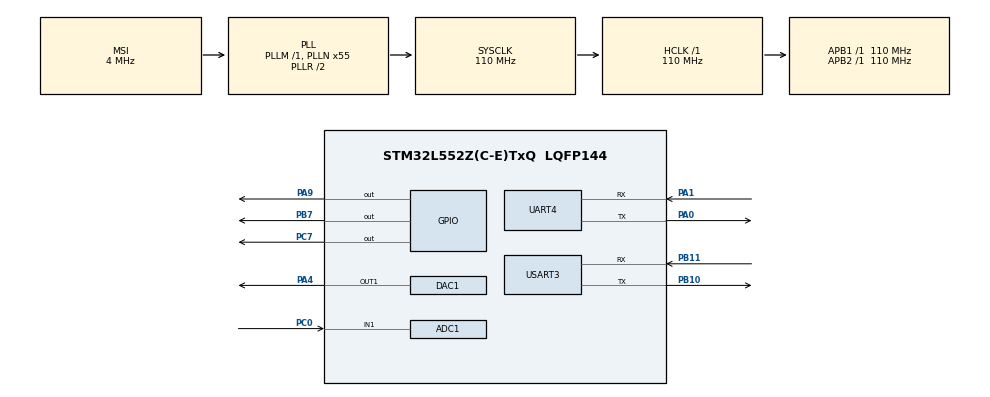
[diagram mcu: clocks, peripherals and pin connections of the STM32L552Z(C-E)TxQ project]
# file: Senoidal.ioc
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ADC1.Channel-2\#ChannelRegularConversion=ADC_CHANNEL_1
ADC1.NbrOfConversionFlag=1
ADC1.OffsetNumber-2\#ChannelRegularConversion=ADC_OFFSET_NONE
ADC1.Rank-2\#ChannelRegularConversion=1
ADC1.SamplingTime-2\#ChannelRegularConversion=ADC_SAMPLETIME_2CYCLES_5
ADC1.master=1
DAC1.DAC_SampleAndHold-DAC_OUT1=DAC_SAMPLEANDHOLD_DISABLE
DAC1.DAC_Trigger-DAC_OUT1=DAC_TRIGGER_NONE
Mcu.Family=STM32L5
Mcu.Name=STM32L552Z(C-E)TxQ
Mcu.Package=LQFP144
Mcu.TrustZone=disable
NUCLEO-L552ZE-Q.BUTTON=1
NUCLEO-L552ZE-Q.LD1=true
NUCLEO-L552ZE-Q.LD2=true
NUCLEO-L552ZE-Q.LD3=true
NUCLEO-L552ZE-Q.VCP=true
NVIC.EXTI13_IRQn=true\:0\:0\:false\:false\:true\:false\:true\:true
NVIC.PriorityGroup=NVIC_PRIORITYGROUP_3
PA0.Mode=Asynchronous
PA0.Signal=UART4_TX
PA1.Mode=Asynchronous
PA1.Signal=UART4_RX
PA13\ (JTMS/SWDIO).Signal=DEBUG_JTMS-SWDIO
PA14\ (JTCK/SWCLK).Signal=DEBUG_JTCK-SWCLK
PA4.Signal=COMP_DAC11_group
PA9.Signal=GPIO_Output
PB10.Mode=Asynchronous
PB10.Signal=USART3_TX
PB11.Mode=Asynchronous
PB11.Signal=USART3_RX
PB3\ (JTDO/TRACESWO).Signal=DEBUG_JTDO-SWO
PB7.Signal=GPIO_Output
PC0.Signal=ADCx_IN1
PC13.Signal=PWR_WKUP2
PC14-OSC32_IN\ (PC14).Signal=RCC_OSC32_IN
PC15-OSC32_OUT\ (PC15).Signal=RCC_OSC32_OUT
PC7.Signal=GPIO_Output
PG7.Signal=LPUART1_TX
PG8.Signal=LPUART1_RX
ProjectManager.HeapSize=0x200
ProjectManager.StackSize=0x400
ProjectManager.TargetToolchain=STM32CubeIDE
RCC.ADCCLockSelection=RCC_ADCCLKSOURCE_SYSCLK
RCC.ADCFreq_Value=110000000
RCC.AHBFreq_Value=110000000
RCC.APB1Freq_Value=110000000
RCC.APB1TimFreq_Value=110000000
RCC.APB2Freq_Value=110000000
RCC.APB2TimFreq_Value=110000000
RCC.CK48CLockSelection=RCC_USBCLKSOURCE_HSI48
RCC.CortexFreq_Value=110000000
RCC.HCLKFreq_Value=110000000
RCC.HSE_VALUE=8000000
RCC.HSI48_VALUE=48000000
RCC.HSI_VALUE=16000000
RCC.LSE_VALUE=32768
RCC.MSI_VALUE=4000000
RCC.PLLN=55
RCC.PLLSAI1N=24
RCC.RTCClockSelection=RCC_RTCCLKSOURCE_LSE
RCC.SYSCLKFreq_VALUE=110000000
RCC.SYSCLKSource=RCC_SYSCLKSOURCE_PLLCLK
RCC.USBFreq_Value=48000000
RCC.VCOOutputFreq_Value=220000000
SH.ADCx_IN1.0=ADC1_IN1,IN1-Single-Ended
SH.COMP_DAC11_group.0=DAC1_OUT1,DAC_OUT1
USART3.VirtualMode-Asynchronous=VM_ASYNC
VP_ICACHE_VS_ICACHE.Mode=DirectMappedCache
VP_NUCLEO-L552ZE-Q_VS_BSP_COMMON.Mode=COMMON
VP_PWR_VS_DBSignals.Mode=DisableDeadBatterySignals
VP_PWR_VS_SECSignals.Mode=Security/Privilege
board=NUCLEO-L552ZE-Q

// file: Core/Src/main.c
/* USER CODE BEGIN Header */
/**
  ******************************************************************************
  * @file           : main.c
  * @brief          : Main program body
  ******************************************************************************
  * @attention
  *
  * Copyright (c) 2025 STMicroelectronics.
  * All rights reserved.
  *
  * This software is licensed under terms that can be found in the LICENSE file
  * in the root directory of this software component.
  * If no LICENSE file comes with this software, it is provided AS-IS.
  *
  ******************************************************************************
  */
/* USER CODE END Header */
#include "main.h"

/* USER CODE BEGIN Includes */
#include <math.h>
#include <stdio.h>
#include <string.h>

/* USER CODE END Includes */

COM_InitTypeDef BspCOMInit;
ADC_HandleTypeDef hadc1;

DAC_HandleTypeDef hdac1;

UART_HandleTypeDef huart4;
UART_HandleTypeDef huart3;

void SystemClock_Config(void);
static void MX_GPIO_Init(void);
static void MX_ICACHE_Init(void);
static void MX_ADC1_Init(void);
static void MX_DAC1_Init(void);
static void MX_UART4_Init(void);
static void MX_USART3_UART_Init(void);

int main(void)
{

  /* MCU Configuration--------------------------------------------------------*/

  /* Reset of all peripherals, Initializes the Flash interface and the Systick. */
  HAL_Init();

  /* Configure the system clock */
  SystemClock_Config();

  /* Initialize all configured peripherals */
  MX_GPIO_Init();
  MX_ICACHE_Init();
  MX_ADC1_Init();
  MX_DAC1_Init();
  MX_UART4_Init();
  MX_USART3_UART_Init();
  /* USER CODE BEGIN 2 */

  uint16_t y = 0;
  uint32_t numero = 0;
  uint16_t contador = 0;
  uint32_t buffer[360];
  uint16_t valor_temporal = 0;
  char msg[128];

  for(uint16_t x=0; x<363; x++){
	  buffer[x]= (uint16_t)(127 * sin(2*	3.141592 *x/360) + 127); //Adaptar al maximo valor DAC
  }

  HAL_DAC_SetValue(&hdac1, DAC1_CHANNEL_1, DAC_ALIGN_8B_R, 0x0);
  HAL_DAC_Start(&hdac1, DAC1_CHANNEL_1);
  HAL_UART_Init(&huart4);
  HAL_UART_Init(&huart3);
  HAL_ADC_Init(&hadc1);

  /* USER CODE END 2 */

  /* Initialize leds */
  BSP_LED_Init(LED_GREEN);
  BSP_LED_Init(LED_BLUE);
  BSP_LED_Init(LED_RED);

  /* Initialize USER push-button, will be used to trigger an interrupt each time it's pressed.*/
  BSP_PB_Init(BUTTON_USER, BUTTON_MODE_EXTI);

  /* Initialize COM1 port (115200, 8 bits (7-bit data + 1 stop bit), no parity */
  BspCOMInit.BaudRate   = 115200;
  BspCOMInit.WordLength = COM_WORDLENGTH_8B;
  BspCOMInit.StopBits   = COM_STOPBITS_1;
  BspCOMInit.Parity     = COM_PARITY_NONE;
  BspCOMInit.HwFlowCtl  = COM_HWCONTROL_NONE;
  if (BSP_COM_Init(COM1, &BspCOMInit) != BSP_ERROR_NONE)
  {
    Error_Handler();
  }

  /* Infinite loop */
  /* USER CODE BEGIN WHILE */
  //while (1){

    /* USER CODE END WHILE */

    /* USER CODE BEGIN 3 */
	  /* el codigo de pablo lo que hace es guardar en un buffer los puntos de la funcion y usar HAL_DACEx_DualStart_DMA para representar los puntos del buffer,
	  así no hay que repetir los calculos una vez hechos	*/

	  sprintf(msg, "Inicio \r\n");
	  printf(msg);

	  while(contador<360){

		  valor_temporal = buffer[contador];
		  HAL_DAC_SetValue(&hdac1, DAC1_CHANNEL_1, DAC_ALIGN_8B_R, buffer[contador]);
		  HAL_Delay(20);
		  HAL_ADC_Start(&hadc1);
		  HAL_ADC_PollForConversion(&hadc1, 10000);
		  numero = HAL_ADC_GetValue(&hadc1);

		  sprintf(msg, "Medido: %lu\r\n",numero);
		  printf(msg);
		  sprintf(msg, "Original: %u\r\n",valor_temporal);
	  	  printf(msg);

	  	  contador++;
	  }
	  sprintf(msg, "FIN \r\n");
	  printf(msg);

  //}
  /* USER CODE END 3 */
}

void SystemClock_Config(void)
{
  RCC_OscInitTypeDef RCC_OscInitStruct = {0};
  RCC_ClkInitTypeDef RCC_ClkInitStruct = {0};

  /** Configure the main internal regulator output voltage
  */
  if (HAL_PWREx_ControlVoltageScaling(PWR_REGULATOR_VOLTAGE_SCALE0) != HAL_OK)
  {
    Error_Handler();
  }

  /** Initializes the RCC Oscillators according to the specified parameters
  * in the RCC_OscInitTypeDef structure.
  */
  RCC_OscInitStruct.OscillatorType = RCC_OSCILLATORTYPE_MSI;
  RCC_OscInitStruct.MSIState = RCC_MSI_ON;
  RCC_OscInitStruct.MSICalibrationValue = RCC_MSICALIBRATION_DEFAULT;
  RCC_OscInitStruct.MSIClockRange = RCC_MSIRANGE_6;
  RCC_OscInitStruct.PLL.PLLState = RCC_PLL_ON;
  RCC_OscInitStruct.PLL.PLLSource = RCC_PLLSOURCE_MSI;
  RCC_OscInitStruct.PLL.PLLM = 1;
  RCC_OscInitStruct.PLL.PLLN = 55;
  RCC_OscInitStruct.PLL.PLLP = RCC_PLLP_DIV7;
  RCC_OscInitStruct.PLL.PLLQ = RCC_PLLQ_DIV2;
  RCC_OscInitStruct.PLL.PLLR = RCC_PLLR_DIV2;
  if (HAL_RCC_OscConfig(&RCC_OscInitStruct) != HAL_OK)
  {
    Error_Handler();
  }

  /** Initializes the CPU, AHB and APB buses clocks
  */
  RCC_ClkInitStruct.ClockType = RCC_CLOCKTYPE_HCLK|RCC_CLOCKTYPE_SYSCLK
                              |RCC_CLOCKTYPE_PCLK1|RCC_CLOCKTYPE_PCLK2;
  RCC_ClkInitStruct.SYSCLKSource = RCC_SYSCLKSOURCE_PLLCLK;
  RCC_ClkInitStruct.AHBCLKDivider = RCC_SYSCLK_DIV1;
  RCC_ClkInitStruct.APB1CLKDivider = RCC_HCLK_DIV1;
  RCC_ClkInitStruct.APB2CLKDivider = RCC_HCLK_DIV1;

  if (HAL_RCC_ClockConfig(&RCC_ClkInitStruct, FLASH_LATENCY_5) != HAL_OK)
  {
    Error_Handler();
  }
}

static void MX_ADC1_Init(void)
{

  ADC_MultiModeTypeDef multimode = {0};
  ADC_ChannelConfTypeDef sConfig = {0};

  /** Common config
  */
  hadc1.Instance = ADC1;
  hadc1.Init.ClockPrescaler = ADC_CLOCK_ASYNC_DIV1;
  hadc1.Init.Resolution = ADC_RESOLUTION_12B;
  hadc1.Init.DataAlign = ADC_DATAALIGN_RIGHT;
  hadc1.Init.ScanConvMode = ADC_SCAN_DISABLE;
  hadc1.Init.EOCSelection = ADC_EOC_SINGLE_CONV;
  hadc1.Init.LowPowerAutoWait = DISABLE;
  hadc1.Init.ContinuousConvMode = DISABLE;
  hadc1.Init.NbrOfConversion = 1;
  hadc1.Init.DiscontinuousConvMode = DISABLE;
  hadc1.Init.ExternalTrigConv = ADC_SOFTWARE_START;
  hadc1.Init.ExternalTrigConvEdge = ADC_EXTERNALTRIGCONVEDGE_NONE;
  hadc1.Init.DMAContinuousRequests = DISABLE;
  hadc1.Init.Overrun = ADC_OVR_DATA_PRESERVED;
  hadc1.Init.OversamplingMode = DISABLE;
  if (HAL_ADC_Init(&hadc1) != HAL_OK)
  {
    Error_Handler();
  }

  /** Configure the ADC multi-mode
  */
  multimode.Mode = ADC_MODE_INDEPENDENT;
  if (HAL_ADCEx_MultiModeConfigChannel(&hadc1, &multimode) != HAL_OK)
  {
    Error_Handler();
  }

  /** Configure Regular Channel
  */
  sConfig.Channel = ADC_CHANNEL_1;
  sConfig.Rank = ADC_REGULAR_RANK_1;
  sConfig.SamplingTime = ADC_SAMPLETIME_2CYCLES_5;
  sConfig.SingleDiff = ADC_SINGLE_ENDED;
  sConfig.OffsetNumber = ADC_OFFSET_NONE;
  sConfig.Offset = 0;
  if (HAL_ADC_ConfigChannel(&hadc1, &sConfig) != HAL_OK)
  {
    Error_Handler();
  }

}

static void MX_DAC1_Init(void)
{

  DAC_ChannelConfTypeDef sConfig = {0};

  /** DAC Initialization
  */
  hdac1.Instance = DAC1;
  if (HAL_DAC_Init(&hdac1) != HAL_OK)
  {
    Error_Handler();
  }

  /** DAC channel OUT1 config
  */
  sConfig.DAC_SampleAndHold = DAC_SAMPLEANDHOLD_DISABLE;
  sConfig.DAC_Trigger = DAC_TRIGGER_NONE;
  sConfig.DAC_HighFrequency = DAC_HIGH_FREQUENCY_INTERFACE_MODE_ABOVE_80MHZ;
  sConfig.DAC_OutputBuffer = DAC_OUTPUTBUFFER_ENABLE;
  sConfig.DAC_ConnectOnChipPeripheral = DAC_CHIPCONNECT_DISABLE;
  sConfig.DAC_UserTrimming = DAC_TRIMMING_FACTORY;
  if (HAL_DAC_ConfigChannel(&hdac1, &sConfig, DAC_CHANNEL_1) != HAL_OK)
  {
    Error_Handler();
  }

}

static void MX_ICACHE_Init(void)
{

  /** Enable instruction cache in 1-way (direct mapped cache)
  */
  if (HAL_ICACHE_ConfigAssociativityMode(ICACHE_1WAY) != HAL_OK)
  {
    Error_Handler();
  }
  if (HAL_ICACHE_Enable() != HAL_OK)
  {
    Error_Handler();
  }

}

static void MX_UART4_Init(void)
{

  huart4.Instance = UART4;
  huart4.Init.BaudRate = 115200;
  huart4.Init.WordLength = UART_WORDLENGTH_8B;
  huart4.Init.StopBits = UART_STOPBITS_1;
  huart4.Init.Parity = UART_PARITY_NONE;
  huart4.Init.Mode = UART_MODE_TX_RX;
  huart4.Init.HwFlowCtl = UART_HWCONTROL_NONE;
  huart4.Init.OverSampling = UART_OVERSAMPLING_16;
  huart4.Init.OneBitSampling = UART_ONE_BIT_SAMPLE_DISABLE;
  huart4.Init.ClockPrescaler = UART_PRESCALER_DIV1;
  huart4.AdvancedInit.AdvFeatureInit = UART_ADVFEATURE_NO_INIT;
  if (HAL_UART_Init(&huart4) != HAL_OK)
  {
    Error_Handler();
  }
  if (HAL_UARTEx_SetTxFifoThreshold(&huart4, UART_TXFIFO_THRESHOLD_1_8) != HAL_OK)
  {
    Error_Handler();
  }
  if (HAL_UARTEx_SetRxFifoThreshold(&huart4, UART_RXFIFO_THRESHOLD_1_8) != HAL_OK)
  {
    Error_Handler();
  }
  if (HAL_UARTEx_DisableFifoMode(&huart4) != HAL_OK)
  {
    Error_Handler();
  }

}

static void MX_USART3_UART_Init(void)
{

  huart3.Instance = USART3;
  huart3.Init.BaudRate = 115200;
  huart3.Init.WordLength = UART_WORDLENGTH_8B;
  huart3.Init.StopBits = UART_STOPBITS_1;
  huart3.Init.Parity = UART_PARITY_NONE;
  huart3.Init.Mode = UART_MODE_TX_RX;
  huart3.Init.HwFlowCtl = UART_HWCONTROL_NONE;
  huart3.Init.OverSampling = UART_OVERSAMPLING_16;
  huart3.Init.OneBitSampling = UART_ONE_BIT_SAMPLE_DISABLE;
  huart3.Init.ClockPrescaler = UART_PRESCALER_DIV1;
  huart3.AdvancedInit.AdvFeatureInit = UART_ADVFEATURE_NO_INIT;
  if (HAL_UART_Init(&huart3) != HAL_OK)
  {
    Error_Handler();
  }
  if (HAL_UARTEx_SetTxFifoThreshold(&huart3, UART_TXFIFO_THRESHOLD_1_8) != HAL_OK)
  {
    Error_Handler();
  }
  if (HAL_UARTEx_SetRxFifoThreshold(&huart3, UART_RXFIFO_THRESHOLD_1_8) != HAL_OK)
  {
    Error_Handler();
  }
  if (HAL_UARTEx_DisableFifoMode(&huart3) != HAL_OK)
  {
    Error_Handler();
  }

}

static void MX_GPIO_Init(void)
{

  /* GPIO Ports Clock Enable */
  __HAL_RCC_GPIOC_CLK_ENABLE();
  __HAL_RCC_GPIOA_CLK_ENABLE();
  __HAL_RCC_GPIOB_CLK_ENABLE();

}

void Error_Handler(void)
{
  __disable_irq();
  while (1)
  {
  }
}
